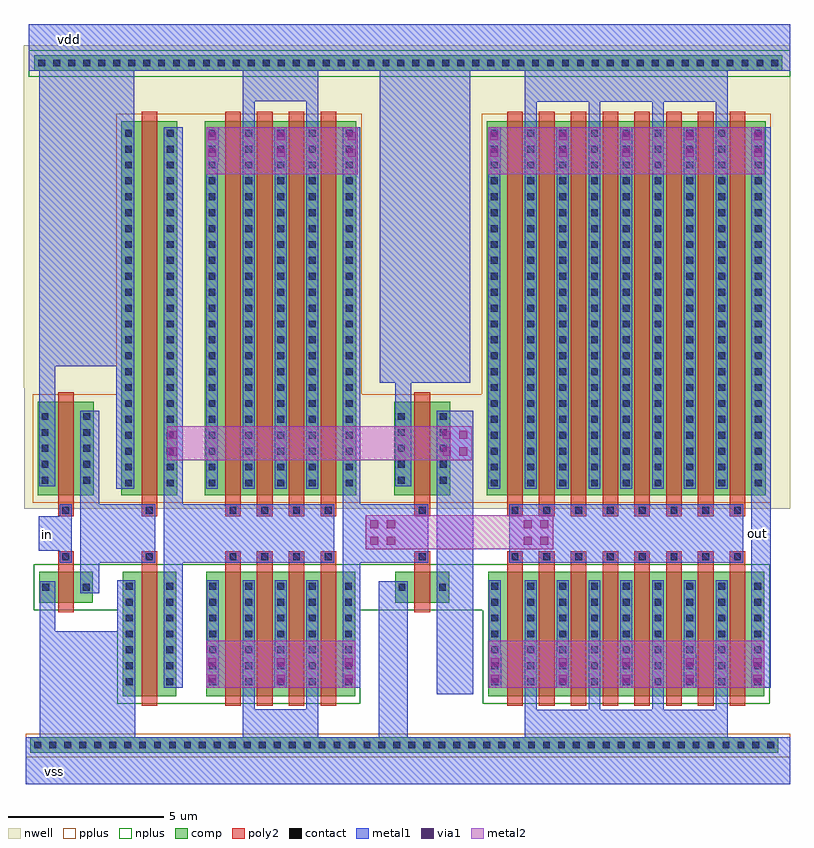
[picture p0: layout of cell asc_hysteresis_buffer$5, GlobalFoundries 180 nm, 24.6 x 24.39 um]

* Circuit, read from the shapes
.subckt asc_hysteresis_buffer$5 in out vdd vss
XM1 n1 in vss vss nfet_03v3 w=1u l=0.5u
XM2 n2 n1 vss vss nfet_03v3 w=4u l=0.5u
XM3 vss n2 n3 vss nfet_03v3 w=4u l=0.5u m=4
XM4 n2 n3 vss vss nfet_03v3 w=1u l=0.5u
XM5 vss n3 out vss nfet_03v3 w=4u l=0.5u m=8
XM6 n1 in vdd vdd pfet_03v3 w=3u l=0.5u
XM7 n2 n1 vdd vdd pfet_03v3 w=12u l=0.5u
XM8 vdd n2 n3 vdd pfet_03v3 w=12u l=0.5u m=4
XM9 n2 n3 vdd vdd pfet_03v3 w=3u l=0.5u
XM10 vdd n3 out vdd pfet_03v3 w=12u l=0.5u m=8
.ends

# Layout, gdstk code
from math import pi, radians
import gdstk
lib = gdstk.Library(unit=1e-6, precision=1e-09)
def R(c, l, rs):  # rectangles x0, y0, x1, y1
    for r in rs: c.add(gdstk.rectangle(r[:2], r[2:], *l))
def A(c, l, x, y, w, h, nx, ny, dx, dy):  # array of equal rectangles
    R(c, l, [(x+i*dx, y+j*dy, x+i*dx+w, y+j*dy+h) for i in range(nx) for j in range(ny)])
nwell = (21, 0)
comp = (22, 0)
poly2 = (30, 0)
pplus = (31, 0)
nplus = (32, 0)
contact = (33, 0)
metal1 = (34, 0)
via1 = (35, 0)
metal2 = (36, 0)

via_dev_769 = lib.new_cell('via_dev$769')
R(via_dev_769, metal1, [(0,0,1.1,0.4)])
R(via_dev_769, via1, [(0.155,0.07,0.415,0.33), (0.685,0.07,0.945,0.33)])
R(via_dev_769, metal2, [(0,0,1.1,0.4)])

nfet_254 = lib.new_cell('nfet$254')
R(nfet_254, comp, [(-0.42,0,0,4), (0,0,3.94,4), (3.94,0,4.36,4)])
A(nfet_254, poly2, 0.19, -0.3, 0.5, 4.6, 4, 1, 1.02, 0)
A(nfet_254, poly2, 0.19, 4.3, 0.5, 0.36, 4, 1, 1.02, 0)
R(nfet_254, nplus, [(-0.59,-0.24,4.53,4.24)])
A(nfet_254, contact, -0.32, 0.36, 0.22, 0.22, 1, 7, 0, 0.51)
A(nfet_254, contact, 0.84, 0.36, 0.22, 0.22, 3, 7, 1.02, 0.51)
A(nfet_254, contact, 4.04, 0.36, 0.22, 0.22, 1, 7, 0, 0.51)
A(nfet_254, contact, 0.33, 4.37, 0.22, 0.22, 4, 1, 1.02, 0)
A(nfet_254, metal1, 0.76, 0.28, 0.38, 3.44, 3, 1, 1.02, 0)
A(nfet_254, metal1, 0.25, 4.29, 0.38, 0.38, 4, 1, 1.02, 0)
R(nfet_254, metal1, [(-0.4,0.28,-0.02,3.72), (3.96,0.28,4.34,3.72)])

via_dev_770 = lib.new_cell('via_dev$770')
R(via_dev_770, comp, [(0,0,24,0.5)])
A(via_dev_770, contact, 0.13, 0.14, 0.22, 0.22, 50, 1, 0.48, 0)
R(via_dev_770, metal1, [(0,0,24,0.5)])

via_dev_771 = lib.new_cell('via_dev$771')

pfet_235 = lib.new_cell('pfet$235')
R(pfet_235, nwell, [(-0.9,-0.44,4.84,12.44)])
R(pfet_235, comp, [(-0.46,0,0,12), (0,0,3.94,12), (3.94,0,4.4,12)])
A(pfet_235, poly2, 0.19, -0.68, 0.5, 0.38, 4, 1, 1.02, 0)
A(pfet_235, poly2, 0.19, -0.3, 0.5, 12.6, 4, 1, 1.02, 0)
R(pfet_235, pplus, [(-0.63,-0.24,4.57,12.24)])
A(pfet_235, contact, 0.33, -0.6, 0.22, 0.22, 4, 1, 1.02, 0)
A(pfet_235, contact, -0.34, 0.28, 0.22, 0.22, 1, 23, 0, 0.51)
A(pfet_235, contact, 0.84, 0.28, 0.22, 0.22, 3, 23, 1.02, 0.51)
A(pfet_235, contact, 4.06, 0.28, 0.22, 0.22, 1, 23, 0, 0.51)
A(pfet_235, metal1, 0.25, -0.68, 0.38, 0.38, 4, 1, 1.02, 0)
A(pfet_235, metal1, 0.76, 0.2, 0.38, 11.6, 3, 1, 1.02, 0)
R(pfet_235, metal1, [(-0.42,0.2,-0.04,11.8), (3.98,0.2,4.36,11.8)])

nfet_255 = lib.new_cell('nfet$255')
R(nfet_255, comp, [(-0.42,0,0,4), (0,0,0.88,4), (0.88,0,1.3,4)])
R(nfet_255, poly2, [(0.19,-0.3,0.69,4.3), (0.19,4.3,0.69,4.66)])
R(nfet_255, nplus, [(-0.59,-0.24,1.47,4.24)])
A(nfet_255, contact, -0.32, 0.36, 0.22, 0.22, 1, 7, 0, 0.51)
A(nfet_255, contact, 0.98, 0.36, 0.22, 0.22, 1, 7, 0, 0.51)
R(nfet_255, contact, [(0.33,4.37,0.55,4.59)])
R(nfet_255, metal1, [(-0.4,0.28,-0.02,3.72), (0.9,0.28,1.28,3.72), (0.25,4.29,0.63,4.67)])

pfet_236 = lib.new_cell('pfet$236')
R(pfet_236, nwell, [(-0.9,-0.44,1.78,12.44)])
R(pfet_236, comp, [(-0.46,0,0,12), (0,0,0.88,12), (0.88,0,1.34,12)])
R(pfet_236, poly2, [(0.19,-0.68,0.69,-0.3), (0.19,-0.3,0.69,12.3)])
R(pfet_236, pplus, [(-0.63,-0.24,1.51,12.24)])
A(pfet_236, contact, -0.34, 0.28, 0.22, 0.22, 1, 23, 0, 0.51)
A(pfet_236, contact, 1, 0.28, 0.22, 0.22, 1, 23, 0, 0.51)
R(pfet_236, contact, [(0.33,-0.6,0.55,-0.38)])
R(pfet_236, metal1, [(0.25,-0.68,0.63,-0.3), (-0.42,0.2,-0.04,11.8), (0.92,0.2,1.3,11.8)])

nfet_256 = lib.new_cell('nfet$256')
R(nfet_256, comp, [(-0.42,0,0,1), (0,0,0.88,1), (0.88,0,1.3,1)])
R(nfet_256, poly2, [(0.19,-0.3,0.69,1.3), (0.19,1.3,0.69,1.66)])
R(nfet_256, nplus, [(-0.59,-0.24,1.47,1.24)])
R(nfet_256, contact, [(-0.32,0.39,-0.1,0.61), (0.98,0.39,1.2,0.61), (0.33,1.37,0.55,1.59)])
R(nfet_256, metal1, [(-0.4,0.31,-0.02,0.69), (0.9,0.31,1.28,0.69), (0.25,1.29,0.63,1.67)])

pfet_237 = lib.new_cell('pfet$237')
R(pfet_237, nwell, [(-0.9,-0.44,1.78,3.44)])
R(pfet_237, comp, [(-0.46,0,0,3), (0,0,0.88,3), (0.88,0,1.34,3)])
R(pfet_237, poly2, [(0.19,-0.68,0.69,-0.3), (0.19,-0.3,0.69,3.3)])
R(pfet_237, pplus, [(-0.63,-0.24,1.51,3.24)])
A(pfet_237, contact, -0.34, 0.37, 0.22, 0.22, 1, 5, 0, 0.51)
A(pfet_237, contact, 1, 0.37, 0.22, 0.22, 1, 5, 0, 0.51)
R(pfet_237, contact, [(0.33,-0.6,0.55,-0.38)])
R(pfet_237, metal1, [(0.25,-0.68,0.63,-0.3), (-0.42,0.29,-0.04,2.71), (0.92,0.29,1.3,2.71)])

nfet_257 = lib.new_cell('nfet$257')
R(nfet_257, comp, [(-0.42,0,0,4), (0,0,8.02,4), (8.02,0,8.44,4)])
A(nfet_257, poly2, 0.19, -0.3, 0.5, 4.6, 8, 1, 1.02, 0)
A(nfet_257, poly2, 0.19, 4.3, 0.5, 0.36, 8, 1, 1.02, 0)
R(nfet_257, nplus, [(-0.59,-0.24,8.61,4.24)])
A(nfet_257, contact, -0.32, 0.36, 0.22, 0.22, 1, 7, 0, 0.51)
A(nfet_257, contact, 0.84, 0.36, 0.22, 0.22, 7, 7, 1.02, 0.51)
A(nfet_257, contact, 8.12, 0.36, 0.22, 0.22, 1, 7, 0, 0.51)
A(nfet_257, contact, 0.33, 4.37, 0.22, 0.22, 8, 1, 1.02, 0)
A(nfet_257, metal1, 0.76, 0.28, 0.38, 3.44, 7, 1, 1.02, 0)
A(nfet_257, metal1, 0.25, 4.29, 0.38, 0.38, 8, 1, 1.02, 0)
R(nfet_257, metal1, [(-0.4,0.28,-0.02,3.72), (8.04,0.28,8.42,3.72)])

pfet_238 = lib.new_cell('pfet$238')
R(pfet_238, nwell, [(-0.9,-0.44,8.92,12.44)])
R(pfet_238, comp, [(-0.46,0,0,12), (0,0,8.02,12), (8.02,0,8.48,12)])
A(pfet_238, poly2, 0.19, -0.68, 0.5, 0.38, 8, 1, 1.02, 0)
A(pfet_238, poly2, 0.19, -0.3, 0.5, 12.6, 8, 1, 1.02, 0)
R(pfet_238, pplus, [(-0.63,-0.24,8.65,12.24)])
A(pfet_238, contact, 0.33, -0.6, 0.22, 0.22, 8, 1, 1.02, 0)
A(pfet_238, contact, -0.34, 0.28, 0.22, 0.22, 1, 23, 0, 0.51)
A(pfet_238, contact, 0.84, 0.28, 0.22, 0.22, 7, 23, 1.02, 0.51)
A(pfet_238, contact, 8.14, 0.28, 0.22, 0.22, 1, 23, 0, 0.51)
A(pfet_238, metal1, 0.25, -0.68, 0.38, 0.38, 8, 1, 1.02, 0)
A(pfet_238, metal1, 0.76, 0.2, 0.38, 11.6, 7, 1, 1.02, 0)
R(pfet_238, metal1, [(-0.42,0.2,-0.04,11.8), (8.06,0.2,8.44,11.8)])

nfet_258 = lib.new_cell('nfet$258')
R(nfet_258, comp, [(-0.42,0,0,1), (0,0,0.88,1), (0.88,0,1.3,1)])
R(nfet_258, poly2, [(0.19,-0.3,0.69,1.3), (0.19,1.3,0.69,1.66)])
R(nfet_258, nplus, [(-0.59,-0.24,1.47,1.24)])
R(nfet_258, contact, [(-0.32,0.39,-0.1,0.61), (0.98,0.39,1.2,0.61), (0.33,1.37,0.55,1.59)])
R(nfet_258, metal1, [(-0.4,0.31,-0.02,0.69), (0.9,0.31,1.28,0.69), (0.25,1.29,0.63,1.67)])

pfet_239 = lib.new_cell('pfet$239')
R(pfet_239, nwell, [(-0.9,-0.44,1.78,3.44)])
R(pfet_239, comp, [(-0.46,0,0,3), (0,0,0.88,3), (0.88,0,1.34,3)])
R(pfet_239, poly2, [(0.19,-0.68,0.69,-0.3), (0.19,-0.3,0.69,3.3)])
R(pfet_239, pplus, [(-0.63,-0.24,1.51,3.24)])
A(pfet_239, contact, -0.34, 0.37, 0.22, 0.22, 1, 5, 0, 0.51)
A(pfet_239, contact, 1, 0.37, 0.22, 0.22, 1, 5, 0, 0.51)
R(pfet_239, contact, [(0.33,-0.6,0.55,-0.38)])
R(pfet_239, metal1, [(0.25,-0.68,0.63,-0.3), (-0.42,0.29,-0.04,2.71), (0.92,0.29,1.3,2.71)])

via_dev_772 = lib.new_cell('via_dev$772')
R(via_dev_772, metal1, [(0,0,1.1,1.1)])
R(via_dev_772, via1, [(0.155,0.155,0.415,0.415), (0.685,0.155,0.945,0.415), (0.155,0.685,0.415,0.945), (0.685,0.685,0.945,0.945)])
R(via_dev_772, metal2, [(0,0,1.1,1.1)])

via_dev_773 = lib.new_cell('via_dev$773')
R(via_dev_773, metal1, [(0,0,1.1,0.4)])
R(via_dev_773, via1, [(0.155,0.07,0.415,0.33), (0.685,0.07,0.945,0.33)])
R(via_dev_773, metal2, [(0,0,1.1,0.4)])

asc_hysteresis_buffer_5 = lib.new_cell('asc_hysteresis_buffer$5')
R(asc_hysteresis_buffer_5, nwell, [(11.04,5.945,14.35,18.825), (20.86,5.945,24.525,18.825), (-0.075,9.825,2.62,18.625), (-0.075,18.625,2.62,18.825), (-0.075,18.825,24.525,20.825)])
R(asc_hysteresis_buffer_5, pplus, [(-0.01,-2.025,24.525,-1.275), (2.35,6.145,2.89,9.625), (5.03,6.145,5.57,18.625), (10.77,6.145,11.645,9.625), (13.785,6.145,14.62,9.625)])
R(asc_hysteresis_buffer_5, nplus, [(4.99,-0.31,5.61,4.17), (2.31,2.69,2.93,4.17), (10.73,2.69,11.685,4.17), (13.745,2.69,14.66,4.17), (0.085,19.8,24.525,20.665)])
A(asc_hysteresis_buffer_5, metal1, 16.01, -1.385, 0.38, 1.595, 4, 1, 2.04, 0)
A(asc_hysteresis_buffer_5, metal1, 16.01, 18.185, 0.38, 1.815, 4, 1, 2.04, 0)
R(asc_hysteresis_buffer_5, metal1, [(-0.01,-2.885,24.525,-1.385), (-0.01,-1.885,0.14,-1.385), (0.44,-1.385,0.945,3.62), (0.945,-1.385,2.93,2.01), (2.93,-1.385,3.5,3.65), (6.96,-1.385,7.34,0.21), (7.34,-1.385,9,-0.49), (9,-1.385,9.38,0.21), (11.32,-1.385,12.255,3.62), (16.39,-1.385,22.13,-0.495), (13.175,-0.01,14.35,9.095), (10.16,0.205,10.73,18.185), (4.42,0.21,5.03,18.185), (23.27,0.21,23.9,18.185), (1.74,3.24,2.35,9.095), (2.35,4.22,4.15,6.085), (5.03,4.22,9.89,6.085), (10.73,4.22,12.905,6.085), (15.5,4.22,23.02,6.085), (0.41,4.6,1.47,5.705), (3.77,4.6,4.15,5.705), (2.89,6.585,3.48,20), (1.76,6.605,2.14,6.675), (13.195,6.605,13.575,6.675), (0.42,6.675,0.935,20), (11.855,6.675,12.365,20), (11.355,9.99,14.25,20), (0.935,10.515,2.89,20), (6.96,18.185,7.34,20), (9,18.185,9.38,20), (16.39,19.01,22.13,20), (7.34,19.015,9,20), (0.085,20,24.525,21.5), (0.12,20,0.27,20.5)])
R(asc_hysteresis_buffer_5, metal2, [(5.78,0.205,10.56,1.71), (14.85,0.205,23.69,1.71), (10.895,4.64,16.92,5.74), (4.525,7.495,14.31,8.6), (5.78,16.685,10.65,18.185), (14.83,16.685,23.69,18.185)])
asc_hysteresis_buffer_5.add(gdstk.Reference(via_dev_769, (6.18,0.21), rotation=pi/2))
asc_hysteresis_buffer_5.add(gdstk.Reference(nfet_254, (6.2,-0.07)))
asc_hysteresis_buffer_5.add(gdstk.Reference(via_dev_770, (0.27,20)))
asc_hysteresis_buffer_5.add(gdstk.Reference(via_dev_770, (0.14,-1.885)))
asc_hysteresis_buffer_5.add(gdstk.Reference(via_dev_769, (8.37,0.21), rotation=pi/2))
asc_hysteresis_buffer_5.add(gdstk.Reference(via_dev_771, (4.84,-1.09), rotation=pi/2))
asc_hysteresis_buffer_5.add(gdstk.Reference(pfet_235, (6.2,6.385)))
asc_hysteresis_buffer_5.add(gdstk.Reference(nfet_255, (3.52,-0.07)))
asc_hysteresis_buffer_5.add(gdstk.Reference(via_dev_771, (2.16,-1.09), rotation=pi/2))
asc_hysteresis_buffer_5.add(gdstk.Reference(pfet_236, (3.52,6.385)))
asc_hysteresis_buffer_5.add(gdstk.Reference(via_dev_771, (-2.14,-1.09), rotation=pi/2))
asc_hysteresis_buffer_5.add(gdstk.Reference(nfet_256, (0.84,2.93)))
asc_hysteresis_buffer_5.add(gdstk.Reference(pfet_237, (0.84,6.385)))
asc_hysteresis_buffer_5.add(gdstk.Reference(via_dev_769, (6.18,17.085), rotation=pi/2))
asc_hysteresis_buffer_5.add(gdstk.Reference(via_dev_769, (8.37,17.085), rotation=pi/2))
asc_hysteresis_buffer_5.add(gdstk.Reference(nfet_257, (15.25,-0.07)))
asc_hysteresis_buffer_5.add(gdstk.Reference(via_dev_769, (15.23,17.085), rotation=pi/2))
asc_hysteresis_buffer_5.add(gdstk.Reference(via_dev_769, (17.42,17.085), rotation=pi/2))
asc_hysteresis_buffer_5.add(gdstk.Reference(via_dev_769, (19.46,17.085), rotation=pi/2))
asc_hysteresis_buffer_5.add(gdstk.Reference(via_dev_769, (21.5,17.085), rotation=pi/2))
asc_hysteresis_buffer_5.add(gdstk.Reference(via_dev_769, (23.69,17.085), rotation=pi/2))
asc_hysteresis_buffer_5.add(gdstk.Reference(via_dev_769, (15.25,0.21), rotation=pi/2))
asc_hysteresis_buffer_5.add(gdstk.Reference(via_dev_769, (17.42,0.21), rotation=pi/2))
asc_hysteresis_buffer_5.add(gdstk.Reference(via_dev_769, (19.46,0.21), rotation=pi/2))
asc_hysteresis_buffer_5.add(gdstk.Reference(via_dev_769, (21.5,0.21), rotation=pi/2))
asc_hysteresis_buffer_5.add(gdstk.Reference(via_dev_769, (10.65,17.085), rotation=pi/2))
asc_hysteresis_buffer_5.add(gdstk.Reference(via_dev_769, (10.56,0.21), rotation=pi/2))
asc_hysteresis_buffer_5.add(gdstk.Reference(pfet_238, (15.25,6.385)))
asc_hysteresis_buffer_5.add(gdstk.Reference(via_dev_769, (23.67,0.21), rotation=pi/2))
asc_hysteresis_buffer_5.add(gdstk.Reference(nfet_258, (12.275,2.93)))
asc_hysteresis_buffer_5.add(gdstk.Reference(pfet_239, (12.275,6.385)))
asc_hysteresis_buffer_5.add(gdstk.Reference(via_dev_772, (11.995,4.64), rotation=pi/2))
asc_hysteresis_buffer_5.add(gdstk.Reference(via_dev_772, (16.92,4.64), rotation=pi/2))
asc_hysteresis_buffer_5.add(gdstk.Reference(via_dev_772, (14.31,7.5), rotation=pi/2))
asc_hysteresis_buffer_5.add(gdstk.Reference(via_dev_773, (4.925,7.5), rotation=pi/2))
asc_hysteresis_buffer_5.add(gdstk.Label('vss', (0.925,-2.48), layer=34, texttype=10))
asc_hysteresis_buffer_5.add(gdstk.Label('in', (0.675,5.115), layer=34, texttype=10))
asc_hysteresis_buffer_5.add(gdstk.Label('vdd', (1.385,21), layer=34, texttype=10))
asc_hysteresis_buffer_5.add(gdstk.Label('out', (23.485,5.145), layer=34, texttype=10))

lib.write_gds('asc_hysteresis_buffer_5.gds')
